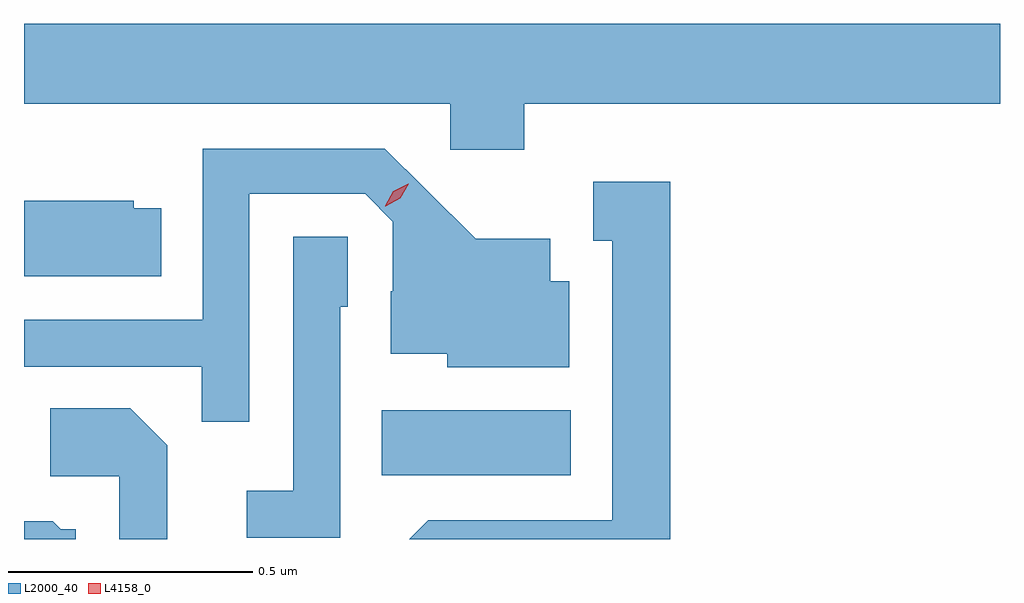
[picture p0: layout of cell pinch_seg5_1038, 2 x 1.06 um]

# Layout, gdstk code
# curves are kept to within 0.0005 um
import gdstk
lib = gdstk.Library(unit=1e-6, precision=1e-09)
def R(c, l, rs):  # rectangles x0, y0, x1, y1
    for r in rs: c.add(gdstk.rectangle(r[:2], r[2:], *l))
def P(c, l, *ps):  # polygons
    for p in ps: c.add(gdstk.Polygon(p, *l))
L2000_40 = (2000, 40)
L4158_0 = (4158, 0)

pinch_seg5_1038 = lib.new_cell('pinch_seg5_1038')
R(pinch_seg5_1038, L2000_40, [(722.116,841.346,722.503,841.48)])
P(pinch_seg5_1038, L2000_40, [(722.408,842.108),(723.383,842.108),(723.383,842.272),(721.383,842.272),(721.383,842.108),(722.256,842.108),(722.256,842.013),(722.408,842.013)],
  [(721.845,841.923),(722.082,841.923),(722.139,841.866),(722.139,841.724),(722.135,841.724),(722.135,841.595),(722.25,841.595),(722.25,841.568),(722.5,841.568),(722.5,841.744),(722.461,841.744),(722.461,841.831),(722.309,841.831),(722.122,842.016),(721.749,842.016),(721.749,841.665),(721.383,841.665),(721.383,841.569),(721.747,841.569),(721.747,841.456),(721.845,841.456)],
  [(722.707,841.948),(722.549,841.948),(722.549,841.827),(722.588,841.827),(722.588,841.254),(722.211,841.254),(722.172,841.215),(722.707,841.215)],
  [(721.664,841.894),(721.608,841.894),(721.608,841.909),(721.383,841.909),(721.383,841.754),(721.664,841.754)],
  [(722.031,841.692),(722.046,841.692),(722.046,841.835),(721.935,841.835),(721.935,841.315),(721.839,841.315),(721.839,841.218),(722.031,841.218)],
  [(721.677,841.408),(721.601,841.484),(721.437,841.484),(721.437,841.344),(721.578,841.344),(721.578,841.215),(721.677,841.215)],
  [(721.489,841.236),(721.458,841.236),(721.442,841.252),(721.383,841.252),(721.383,841.215),(721.489,841.215)])
P(pinch_seg5_1038, L4158_0, [(722.123,841.898),(722.123,841.899),(722.14,841.928),(722.17,841.944),(722.171,841.944),(722.171,841.944),(722.154,841.914),(722.124,841.898)])

lib.write_gds('pinch_seg5_1038.gds')
